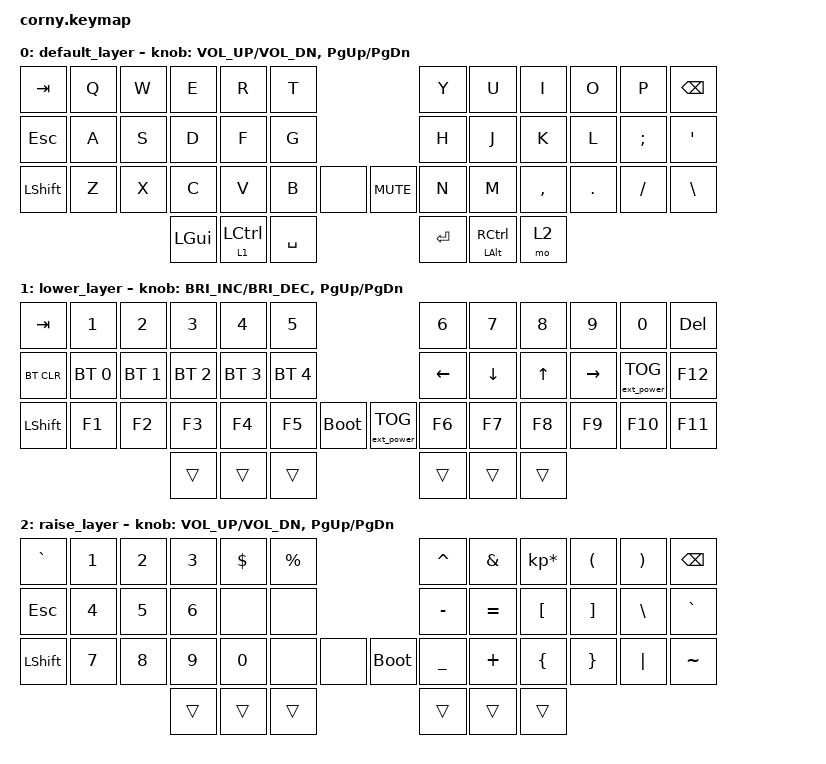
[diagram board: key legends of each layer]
#include <behaviors.dtsi>
#include <dt-bindings/zmk/bt.h>
#include <dt-bindings/zmk/ext_power.h>
#include <dt-bindings/zmk/keys.h>

/ {
    keymap {
        compatible = "zmk,keymap";

        default_layer {
            // -------------------------------------------------------------------------------------------------
            // |  TAB |  Q  |  W  |  E  |  R  |  T  |                    |  Y  |  U   |  I  |  O  |  P  | BKSP |
            // | CTRL |  A  |  S  |  D  |  F  |  G  |                    |  H  |  J   |  K  |  L  |  ;  |  '   |
            // | SHFT |  Z  |  X  |  C  |  V  |  B  |  MUTE  |  |        |  N  |  M   |  ,  |  .  |  /  | ESC  |
            //                    | GUI | LWR | SPC |                    | ENT | RSE  | ALT |

            bindings = <
&kp TAB    &kp Q  &kp W  &kp E         &kp R               &kp T                         &kp Y      &kp U               &kp I      &kp O    &kp P     &kp BSPC
&kp ESC    &kp A  &kp S  &kp D         &kp F               &kp G                         &kp H      &kp J               &kp K      &kp L    &kp SEMI  &kp SQT
&kp LSHFT  &kp Z  &kp X  &kp C         &kp V               &kp B      &none  &kp C_MUTE  &kp N      &kp M               &kp COMMA  &kp DOT  &kp FSLH  &kp BACKSLASH
                         &kp LEFT_GUI  &lt 1 LEFT_CONTROL  &kp SPACE                     &kp ENTER  &mt LEFT_ALT RCTRL  &mo 2
            >;

            sensor-bindings = <&inc_dec_kp C_VOL_UP C_VOL_DN &inc_dec_kp PG_UP PG_DN>;
        };

        lower_layer {
            // ------------------------------------------------------------------------------------------------
            // |  TAB |  1  |  2  |  3  |  4  |  5  |                    |  6  |  7  |  8  |  9  |  0  | BKSP |
            // | BTCLR| BT1 | BT2 | BT3 | BT4 | BT5 |                    | LFT | DWN |  UP | RGT |     |  F12 |
            // | SHFT | F1  | F2  | F3  | F4  | F5  |  boot  |  |        |  F6 | F7  | F8  | F9  | F10 |  F11 |
            //                    | GUI |     | SPC |                    | ENT |     | ALT |

            bindings = <
&kp TAB     &kp N1        &kp N2        &kp N3        &kp N4        &kp N5                                        &kp N6    &kp N7    &kp N8  &kp N9     &kp N0             &kp DEL
&bt BT_CLR  &bt BT_SEL 0  &bt BT_SEL 1  &bt BT_SEL 2  &bt BT_SEL 3  &bt BT_SEL 4                                  &kp LEFT  &kp DOWN  &kp UP  &kp RIGHT  &ext_power EP_TOG  &kp F12
&kp LSHFT   &kp F1        &kp F2        &kp F3        &kp F4        &kp F5        &bootloader  &ext_power EP_TOG  &kp F6    &kp F7    &kp F8  &kp F9     &kp F10            &kp F11
                                        &trans        &trans        &trans                                        &trans    &trans    &trans
            >;

            sensor-bindings =
                <&inc_dec_kp C_BRIGHTNESS_INC C_BRIGHTNESS_DEC>,
                <&inc_dec_kp PG_UP PG_DN>;
        };

        raise_layer {
            // ------------------------------------------------------------------------------------------------
            // |  TAB |  !  |  @  |  #  |  $  |  %  |                    |  ^  |  &  |  *  |  (  |  )  | BKSP |
            // | CTRL |     |     |     |     |     |                    |  -  |  =  |  [  |  ]  |  \  |  `   |
            // | SHFT |     |     |     |     |     |        |  |  boot  |  _  |  +  |  {  |  }  | "|" |  ~   |
            //                    | GUI |     | SPC |                    | ENT |     | ALT |

            bindings = <
&kp GRAVE  &kp N1  &kp N2  &kp N3  &kp DLLR  &kp PRCNT                      &kp CARET  &kp AMPS   &kp KP_MULTIPLY  &kp LPAR  &kp RPAR  &kp BSPC
&kp ESC    &kp N4  &kp N5  &kp N6  &none     &none                          &kp MINUS  &kp EQUAL  &kp LBKT         &kp RBKT  &kp BSLH  &kp GRAVE
&kp LSHFT  &kp N7  &kp N8  &kp N9  &kp N0    &none      &none  &bootloader  &kp UNDER  &kp PLUS   &kp LBRC         &kp RBRC  &kp PIPE  &kp TILDE
                           &trans  &trans    &trans                         &trans     &trans     &trans
            >;

            sensor-bindings = <&inc_dec_kp C_VOL_UP C_VOL_DN &inc_dec_kp PG_UP PG_DN>;
        };
    };
};
